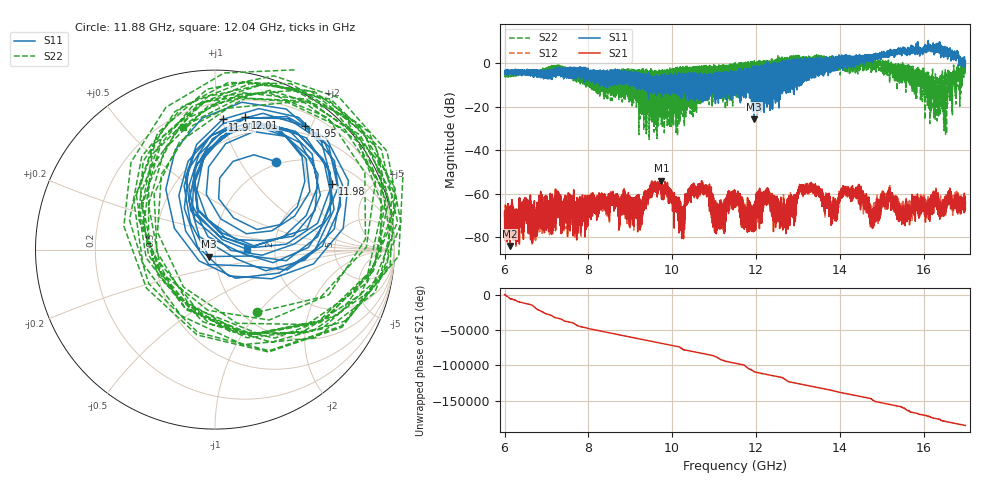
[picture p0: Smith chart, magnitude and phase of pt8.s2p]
#  HZ  S  RI  R  50.00
! Rohde & Schwarz Vector Network Analyzer
! Rohde-Schwarz,ZNA67-2Port,1332450062101215,3.01
! Created: UTC 10/26/2026, 4:17:35 PM
! freq[Hz]  re:S11  im:S11  re:S21  im:S21  re:S12  im:S12  re:S22  im:S22
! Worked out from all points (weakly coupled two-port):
!   11001 points, 6 GHz to 17 GHz, reference 50 ohm
!   highest |S21| = -53.94 dB at 9.743 GHz (marker M1); lowest = -84.0 dB at 6.125 GHz (marker M2)
!   lowest |S11| = -25.7 dB at 11.95 GHz (marker M3), VSWR 1.11, Z = 46.5 - j3.61 ohm
!   |S11| at or under -10 dB: 9.609667 GHz to 9.614039 GHz (4.372 MHz wide, 0.0455 % of centre); 9.784957 GHz to 9.789203 GHz (4.245 MHz wide, 0.0434 % of centre); 10.7049 GHz to 10.70942 GHz (4.52 MHz wide, 0.0422 % of centre) (the widest 3 of 343)
!   |S22| runs from -35.0 to 4.0 dB; largest |S21 - S12| = 0.0012
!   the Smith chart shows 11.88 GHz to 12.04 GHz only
!   S11 on the Smith chart (normalised r, x): 11.88 GHz: 0.95, +1.45; 11.91 GHz: 0.33, +1.00; 11.95 GHz: 0.38, +1.90; 11.98 GHz: 1.71, +2.88; 12.01 GHz: 0.35, +1.20; 12.04 GHz: 1.44, +0.00
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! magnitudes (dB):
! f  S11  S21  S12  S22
! 6 GHz  -4.8  -68.1  -68.2  -5.6
! 6.125 GHz  -4.0  -84.0  -81.7  -6.3
! 7.834 GHz  -2.4  -67.5  -68.7  -3.7
! 9.667 GHz  -7.1  -58.0  -58.4  -3.9
! 9.743 GHz  -7.7  -53.9  -54.0  -13.4
! 10.24 GHz  -12.5  -77.8  -73.3  -4.0
! 10.51 GHz  -13.0  -56.3  -56.5  -3.3
! 11.06 GHz  -9.7  -70.4  -72.0  -9.8
! 11.5 GHz  -12.6  -62.8  -62.8  -2.3
! 11.88 GHz  -4.5  -69.6  -69.6  -7.5
! 11.91 GHz  -2.8  -76.7  -74.0  -1.0
! 11.95 GHz  -1.4  -69.1  -69.3  -5.6
! 11.95 GHz  -25.7  -69.6  -67.7  -0.5
! 11.98 GHz  -2.5  -66.8  -66.5  -8.6
! 12.01 GHz  -2.4  -62.7  -61.9  -2.1
! 12.04 GHz  -14.9  -64.2  -65.0  -3.0
! 12.68 GHz  -12.6  -71.8  -69.8  2.0
! 13.33 GHz  -0.1  -56.9  -57.2  -2.5
! 14.78 GHz  0.8  -71.5  -71.0  1.7
! 15.17 GHz  5.2  -60.6  -61.5  -1.7
! 16.32 GHz  7.4  -67.3  -62.1  -5.8
! 17 GHz  1.2  -66.8  -63.9  -0.3
